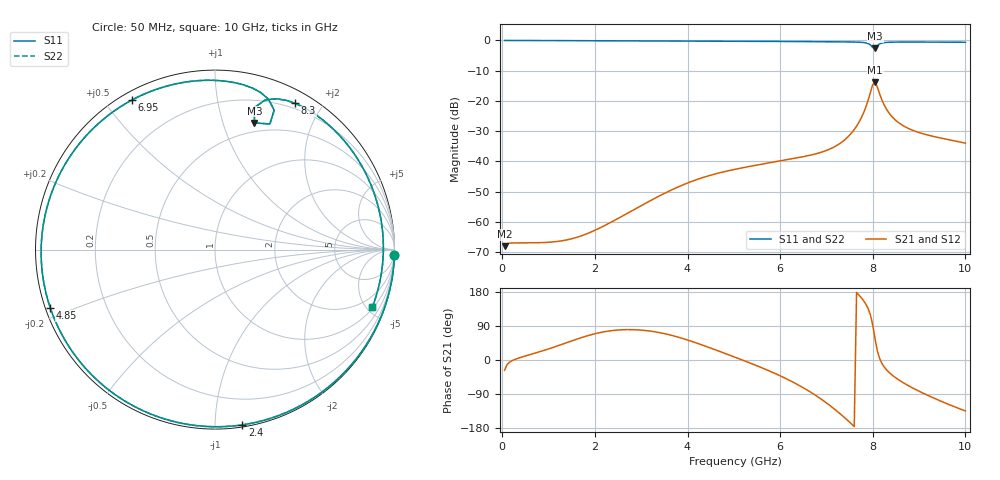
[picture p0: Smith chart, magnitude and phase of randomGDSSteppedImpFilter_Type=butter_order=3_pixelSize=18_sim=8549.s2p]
! freq	dB(S11)	phase(S11)	dB(S12)	phase(S12)
!  dB(S21)	phase(S21)	dB(S22)	phase(S22)
!S-par simulation data
#  GHz  S  DB  R 50
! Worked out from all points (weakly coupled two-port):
!   200 points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, 50 MHz to 10 GHz, reference 50 ohm
!   highest |S21| = -13.78 dB at 8.05 GHz (marker M1); lowest = -68.1 dB at 50 MHz (marker M2)
!   lowest |S11| = -2.6 dB at 8.05 GHz (marker M3), VSWR 6.67, Z = 20.5 + j63.7 ohm
!   |S11| at or under -10 dB: nowhere
!   |S22| runs from -2.6 to 0.0 dB; largest |S21 - S12| = 0
!   S11 on the Smith chart (normalised r, x): 50 MHz: 0, -66; 2.4 GHz: 0.01, -1.17; 4.85 GHz: 0.01, -0.17; 6.95 GHz: 0.03, +0.59; 8.3 GHz: 0.14, +1.68; 10 GHz: 1.10, -5.46
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0.05  -0.00 -1.7  -68.05 -27.3  -68.05 -27.3  -0.00 -1.7
0.85  -0.03 -29.5  -66.87 23.4  -66.87 23.4  -0.03 -29.5
1.75  -0.08 -59.8  -64.39 60.7  -64.39 60.7  -0.08 -59.8
2.4  -0.10 -81.1  -59.71 78.0  -59.71 78.0  -0.10 -81.1
3.4  -0.15 -113.3  -51.38 72.1  -51.38 72.1  -0.15 -113.3
4.1  -0.18 -135.7  -46.57 48.8  -46.57 48.8  -0.18 -135.7
4.85  -0.23 -160.5  -43.21 15.5  -43.21 15.5  -0.23 -160.5
5.05  -0.25 -167.3  -42.54 6.2  -42.54 6.2  -0.25 -167.3
5.9  -0.32 162.1  -40.11 -36.1  -40.11 -36.1  -0.32 162.1
6.7  -0.39 130.0  -37.77 -88.1  -37.77 -88.1  -0.39 130.0
6.95  -0.42 119.2  -36.67 -108.8  -36.67 -108.8  -0.42 119.1
7.3  -0.46 103.1  -33.98 -142.4  -33.98 -142.4  -0.46 103.1
7.6  -0.52 88.3  -29.46 -175.7  -29.46 -175.7  -0.52 88.3
7.8  -0.68 77.1  -24.02 156.8  -24.02 156.8  -0.68 77.1
7.95  -1.48 67.0  -17.11 118.6  -17.11 118.6  -1.48 67.0
8.05  -2.63 72.7  -13.78 55.0  -13.78 55.0  -2.62 72.6
8.15  -1.11 71.5  -17.75 3.4  -17.75 3.4  -1.11 71.4
8.3  -0.63 61.2  -22.84 -26.4  -22.84 -26.4  -0.63 61.1
8.35  -0.59 58.3  -23.98 -32.6  -23.98 -32.6  -0.59 58.2
8.65  -0.53 42.2  -28.14 -59.3  -28.14 -59.3  -0.53 42.1
9.15  -0.53 17.7  -31.14 -91.2  -31.14 -91.2  -0.53 17.6
10  -0.60 -20.0  -33.97 -134.4  -33.97 -134.4  -0.60 -20.1
